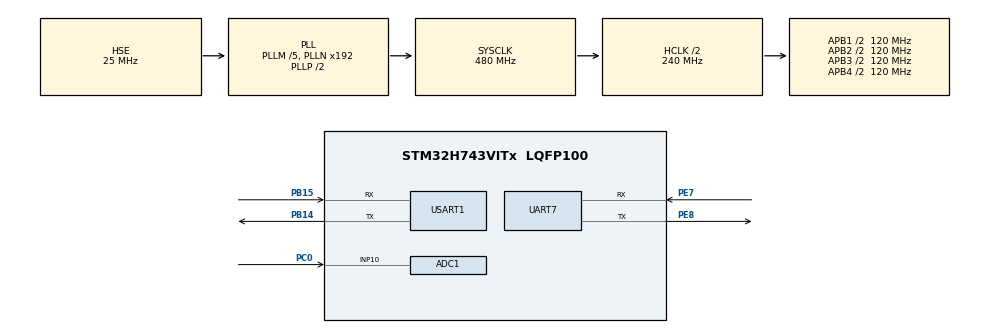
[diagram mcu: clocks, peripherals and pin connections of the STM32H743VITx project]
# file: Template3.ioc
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ADC1.Channel-0\#ChannelRegularConversion=ADC_CHANNEL_10
ADC1.ContinuousConvMode=ENABLE
ADC1.ConversionDataManagement=ADC_CONVERSIONDATA_DMA_ONESHOT
ADC1.ExternalTrigConv=ADC_EXTERNALTRIG_T15_TRGO
ADC1.NbrOfConversionFlag=1
ADC1.OffsetNumber-0\#ChannelRegularConversion=ADC_OFFSET_NONE
ADC1.OffsetSignedSaturation-0\#ChannelRegularConversion=DISABLE
ADC1.Rank-0\#ChannelRegularConversion=1
ADC1.SamplingTime-0\#ChannelRegularConversion=ADC_SAMPLETIME_1CYCLE_5
ADC1.master=1
CORTEX_M7.AccessPermission-Cortex_Memory_Protection_Unit_Region0_Settings=MPU_REGION_FULL_ACCESS
CORTEX_M7.AccessPermission-Cortex_Memory_Protection_Unit_Region1_Settings=MPU_REGION_FULL_ACCESS
CORTEX_M7.AccessPermission-Cortex_Memory_Protection_Unit_Region2_Settings=MPU_REGION_FULL_ACCESS
CORTEX_M7.AccessPermission-Cortex_Memory_Protection_Unit_Region3_Settings=MPU_REGION_FULL_ACCESS
CORTEX_M7.AccessPermission-Cortex_Memory_Protection_Unit_Region4_Settings=MPU_REGION_FULL_ACCESS
CORTEX_M7.BaseAddress-Cortex_Memory_Protection_Unit_Region0_Settings=0x24000000
CORTEX_M7.BaseAddress-Cortex_Memory_Protection_Unit_Region1_Settings=0x30000000
CORTEX_M7.BaseAddress-Cortex_Memory_Protection_Unit_Region2_Settings=0x30020000
CORTEX_M7.BaseAddress-Cortex_Memory_Protection_Unit_Region3_Settings=0x30040000
CORTEX_M7.BaseAddress-Cortex_Memory_Protection_Unit_Region4_Settings=0x38000000
CORTEX_M7.CPU_DCache=Enabled
CORTEX_M7.CPU_ICache=Enabled
CORTEX_M7.Enable-Cortex_Memory_Protection_Unit_Region0_Settings=MPU_REGION_ENABLE
CORTEX_M7.Enable-Cortex_Memory_Protection_Unit_Region1_Settings=MPU_REGION_ENABLE
CORTEX_M7.Enable-Cortex_Memory_Protection_Unit_Region2_Settings=MPU_REGION_ENABLE
CORTEX_M7.Enable-Cortex_Memory_Protection_Unit_Region3_Settings=MPU_REGION_ENABLE
CORTEX_M7.Enable-Cortex_Memory_Protection_Unit_Region4_Settings=MPU_REGION_ENABLE
CORTEX_M7.IsBufferable-Cortex_Memory_Protection_Unit_Region0_Settings=MPU_ACCESS_BUFFERABLE
CORTEX_M7.IsCacheable-Cortex_Memory_Protection_Unit_Region0_Settings=MPU_ACCESS_CACHEABLE
CORTEX_M7.MPU_Control=MPU_PRIVILEGED_DEFAULT
CORTEX_M7.Size-Cortex_Memory_Protection_Unit_Region0_Settings=MPU_REGION_SIZE_512KB
CORTEX_M7.Size-Cortex_Memory_Protection_Unit_Region1_Settings=MPU_REGION_SIZE_128KB
CORTEX_M7.Size-Cortex_Memory_Protection_Unit_Region2_Settings=MPU_REGION_SIZE_128KB
CORTEX_M7.Size-Cortex_Memory_Protection_Unit_Region3_Settings=MPU_REGION_SIZE_32KB
CORTEX_M7.Size-Cortex_Memory_Protection_Unit_Region4_Settings=MPU_REGION_SIZE_64KB
CORTEX_M7.TypeExtField-Cortex_Memory_Protection_Unit_Region0_Settings=MPU_TEX_LEVEL1
CORTEX_M7.TypeExtField-Cortex_Memory_Protection_Unit_Region1_Settings=MPU_TEX_LEVEL1
CORTEX_M7.TypeExtField-Cortex_Memory_Protection_Unit_Region2_Settings=MPU_TEX_LEVEL1
CORTEX_M7.TypeExtField-Cortex_Memory_Protection_Unit_Region3_Settings=MPU_TEX_LEVEL1
CORTEX_M7.TypeExtField-Cortex_Memory_Protection_Unit_Region4_Settings=MPU_TEX_LEVEL1
Dma.ADC1.0.Direction=DMA_PERIPH_TO_MEMORY
Dma.ADC1.0.EventEnable=DISABLE
Dma.ADC1.0.FIFOMode=DMA_FIFOMODE_DISABLE
Dma.ADC1.0.Instance=DMA1_Stream0
Dma.ADC1.0.MemDataAlignment=DMA_MDATAALIGN_HALFWORD
Dma.ADC1.0.MemInc=DMA_MINC_ENABLE
Dma.ADC1.0.Mode=DMA_NORMAL
Dma.ADC1.0.PeriphDataAlignment=DMA_PDATAALIGN_HALFWORD
Dma.ADC1.0.PeriphInc=DMA_PINC_DISABLE
Dma.ADC1.0.Polarity=HAL_DMAMUX_REQ_GEN_RISING
Dma.ADC1.0.Priority=DMA_PRIORITY_LOW
Dma.ADC1.0.RequestNumber=1
Dma.ADC1.0.SignalID=NONE
Dma.ADC1.0.SyncEnable=DISABLE
Dma.ADC1.0.SyncPolarity=HAL_DMAMUX_SYNC_NO_EVENT
Dma.ADC1.0.SyncRequestNumber=1
Dma.ADC1.0.SyncSignalID=NONE
Dma.Request0=ADC1
Mcu.Family=STM32H7
Mcu.Name=STM32H743VITx
Mcu.Package=LQFP100
NVIC.DMA1_Stream0_IRQn=true\:0\:0\:false\:false\:true\:false\:true\:true
NVIC.PriorityGroup=NVIC_PRIORITYGROUP_4
NVIC.TIM6_DAC_IRQn=true\:0\:0\:false\:false\:true\:true\:true\:true
NVIC.TIM7_IRQn=true\:0\:0\:false\:false\:true\:true\:true\:true
NVIC.UART7_IRQn=true\:0\:0\:false\:false\:true\:true\:true\:true
PA13\ (JTMS/SWDIO).Mode=Serial_Wire
PA13\ (JTMS/SWDIO).Signal=DEBUG_JTMS-SWDIO
PA14\ (JTCK/SWCLK).Mode=Serial_Wire
PA14\ (JTCK/SWCLK).Signal=DEBUG_JTCK-SWCLK
PB14.Mode=Asynchronous
PB14.Signal=USART1_TX
PB15.Mode=Asynchronous
PB15.Signal=USART1_RX
PC0.Signal=ADCx_INP10
PE7.Mode=Asynchronous
PE7.Signal=UART7_RX
PE8.Mode=Asynchronous
PE8.Signal=UART7_TX
PH0-OSC_IN\ (PH0).Mode=HSE-External-Oscillator
PH0-OSC_IN\ (PH0).Signal=RCC_OSC_IN
PH1-OSC_OUT\ (PH1).Mode=HSE-External-Oscillator
PH1-OSC_OUT\ (PH1).Signal=RCC_OSC_OUT
ProjectManager.HeapSize=0x200
ProjectManager.StackSize=0x7400
ProjectManager.TargetToolchain=MDK-ARM V5.32
RCC.ADCFreq_Value=72000000
RCC.APB1Freq_Value=120000000
RCC.APB2Freq_Value=120000000
RCC.APB3Freq_Value=120000000
RCC.APB4Freq_Value=120000000
RCC.CortexFreq_Value=480000000
RCC.D1PPRE=RCC_APB3_DIV2
RCC.D2PPRE1=RCC_APB1_DIV2
RCC.D2PPRE2=RCC_APB2_DIV2
RCC.D3PPRE=RCC_APB4_DIV2
RCC.DIVM1=5
RCC.DIVM2=25
RCC.DIVN1=192
RCC.DIVN2=360
RCC.DIVP2=5
RCC.HCLKFreq_Value=240000000
RCC.HPRE=RCC_HCLK_DIV2
RCC.PLLSourceVirtual=RCC_PLLSOURCE_HSE
RCC.PWR_Regulator_Voltage_Scale=PWR_REGULATOR_VOLTAGE_SCALE0
RCC.ProductRev=revV
RCC.SYSCLKFreq_VALUE=480000000
RCC.SYSCLKSource=RCC_SYSCLKSOURCE_PLLCLK
RCC.USBFreq_Value=480000000
SH.ADCx_INP10.0=ADC1_INP10,IN10-Single-Ended
TIM15.AutoReloadPreload=TIM_AUTORELOAD_PRELOAD_ENABLE
TIM15.Period=15
TIM15.Prescaler=23
TIM15.TIM_MasterOutputTrigger=TIM_TRGO_UPDATE
TIM6.AutoReloadPreload=TIM_AUTORELOAD_PRELOAD_ENABLE
TIM6.Period=4999
TIM6.Prescaler=23999
TIM6.TIM_MasterOutputTrigger=TIM_TRGO_UPDATE
TIM7.AutoReloadPreload=TIM_AUTORELOAD_PRELOAD_ENABLE
TIM7.Period=4999
TIM7.Prescaler=23999
TIM7.TIM_MasterOutputTrigger=TIM_TRGO_UPDATE
USART1.VirtualMode-Asynchronous=VM_ASYNC
VP_MEMORYMAP_VS_MEMORYMAP.Mode=CurAppReg
VP_TIM15_VS_ClockSourceINT.Mode=Internal
VP_TIM6_VS_ClockSourceINT.Mode=Enable_Timer
VP_TIM7_VS_ClockSourceINT.Mode=Enable_Timer
board=custom

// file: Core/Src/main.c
/* USER CODE BEGIN Header */
/**
  ******************************************************************************
  * @file           : main.c
  * @brief          : Main program body
  ******************************************************************************
  * @attention
  *
  * Copyright (c) 2025 STMicroelectronics.
  * All rights reserved.
  *
  * This software is licensed under terms that can be found in the LICENSE file
  * in the root directory of this software component.
  * If no LICENSE file comes with this software, it is provided AS-IS.
  *
  ******************************************************************************
  */
/* USER CODE END Header */
#include "main.h"
#include "adc.h"
#include "dma.h"
#include "memorymap.h"
#include "tim.h"
#include "usart.h"
#include "gpio.h"

#include "arm_math.h"
#include "arm_const_structs.h"
#include "xFFT.h"

/* USER CODE BEGIN PTD */
ALIGN_32BYTES(uint16_t adc1_data[FFT_LENGTH])  __attribute__((section(".ARM.__at_0x30000000")));
__IO uint8_t AdcConvEnd=0;
/* USER CODE END PTD */

/* USER CODE BEGIN PV */
// double voltage;
//0是正弦波，1是三角波
int Wavemax1;//最大频点频率值1
int WaveS1;//波形1种类
int Wavemax2;//最大频点频率值2
int WaveS2;//波形2种类
//0是不同频，1是同频
int frediffornot;//同频与否

int waveptarr[21][2]={{0,0},{11,5},{23,10},{34,15},{46,20},{57,25},{68,30},{80,35},{91,40},{102,45},{114,50},{125,55},{137,60},{148,65},{159,70},{171,75},{182,80},{194,85},{205,90},{216,95},{228,100}};//标准频点
int boxlength=21;

double Forcal[FFT_LENGTH/2];//用于计算
double calinfw[FFT_LENGTH/2];//用于确定是否是同频信号

// int maxindex1;//波形频点角标1
// int maxindex2;//波形频点角标2
/* USER CODE END PV */

void SystemClock_Config(void);
static void MPU_Config(void);

/* USER CODE BEGIN 0 */

  void TwoOrOne(){//同频还是不同频
    for(int i=0;i<FFT_LENGTH/2;i++){
      calinfw[i]=Forcal[i];
    }
    double maxx=0.0;//最大值
    int maxxindex;//最大值的角标
    for(int k=6;k<FFT_LENGTH/2;k++){
      if(maxx<calinfw[k]){
        maxx=calinfw[k];
        maxxindex=k;
      }
    }//先找到第一个很大的值，是一个频点
    for(int i=maxxindex-5;i<maxxindex+5;i++){/////////////////////////
      calinfw[i]=0;
    }//把这一部分频率滤掉
    maxx=0.0;
    for(int k=6;k<FFT_LENGTH/2;k++){
      if(maxx<calinfw[k]){
        maxx=calinfw[k];
        maxxindex=k;
      }
    }
    if(maxx>200){//最大值大于两百，认为还有一个频点，也就是两个信号不同频/////////////////////////
      frediffornot=0;//不同频
    }else{
      frediffornot=1;//同频
    }
  }

int FindPoint(int thatindex){//找到最大频率的点的角标，这个点离哪个标准频点更近
  //计算和标准频点的频谱值的差值，找到差值最小的点，那个点是所求的频率的附近的点
  int mindiff=1e5;//最小差
  int diff;//差值
  int thatfre;//找到那个频率点
  for(int i=1;i<boxlength;i++){
    diff=abs(waveptarr[i][0]-thatindex);
    if(diff<mindiff){
      mindiff=diff;
      thatfre=waveptarr[i][1];
    }
  }
  return thatfre;
}

int Triornot(int Wavevalue){//判断是否为三角波
  //找到标准频率的角标，看该频率的三倍和五倍频的频谱值是否同时大于1/9和1/25
  int index=0;//标准频点角标
  for(int i=1;i<boxlength;i++){
    if(Wavevalue==waveptarr[i][1]){
      index=waveptarr[i][0];
      break;
    }
  }
  int index3=index*3;//三次谐波标准值,要出现大于60的数//////////////////////////
  int index5=index*5;//五次谐波标准值，要出现大于13的数/////////////////////////
  bool in3j=false,in5j=false;//判断3次、5次谐波是否满足
  for(int i=index3-5;i<index3+5;i++){/////////////////////////
    if(Forcal[i]>60){///////////////////////////////////
      in3j=true;
      break;
    }
  }
  for(int i=index5-5;i<index5+5;i++){////////////////////////
    if(Forcal[i]>13){///////////////////////////////////
      in5j=true;
      break;
    }
  }
  if(in3j&&in5j){
    return 1;//三角波
  }else{
    return 0;//正弦波
  }
}

void FindWave(){
  //q1[i].real
  double max1=0.0;//第一个最大值
  double max2=0.0;//第二个最大值
  int index=0;

  TwoOrOne();

  if(frediffornot==0){//两个波频率不一样
    for(int k=6;k<FFT_LENGTH/2;k++){
      if(Forcal[k]>max1){
        max1=Forcal[k];//找到最大的那个点的值
        index=k;//找到最大的那个点的角标
      }
    }

    Wavemax1=FindPoint(index);//多少k
    WaveS1=Triornot(Wavemax1);//三角波还是正弦波

    for(int i=1;i<boxlength;i++){
      if(Wavemax1==waveptarr[i][1]){
        index=waveptarr[i][0];
        break;
      }
    }//找到这个频点对应的index

    for(int i=index-5;i<index+5;i++){//////////////////////////
      Forcal[i]=62;//////////////////////////////////////////////
    }

    for(int k=6;k<FFT_LENGTH/2;k++){
      if(Forcal[k]>max2){
        max2=Forcal[k];//找到最大的那个点的值
        index=k;//找到最大的那个点的角标
      }
    }

    Wavemax2=FindPoint(index);//多少k
    WaveS2=Triornot(Wavemax2);//三角波还是正弦波

  }else{
    for(int k=6;k<FFT_LENGTH/2;k++){
      if(Forcal[k]>max1){
        max1=Forcal[k];//找到最大的那个点的值
        index=k;//找到最大的那个点的角标
      }
    }

    Wavemax1=FindPoint(index);//多少k
    Wavemax2=Wavemax1;//同频

    for(int i=1;i<boxlength;i++){
      if(Wavemax1==waveptarr[i][1]){
        index=waveptarr[i][0];
        break;
      }
    }

    int index3=index*3;//三次谐波标准值，要出现大于60的数，才认为是两个三角波1；若只是大于10，则认为一三角一正弦2//////////////////////////
    int index5=index*5;//五次谐波标准值，要出现大于40的数，才认为是两个三角波1；若只是大于10，则认为一三角一正弦2/////////////////////////
    int in3j=0,in5j=0;//判断3次、5次谐波是否满足

    for(int i=index3-5;i<index3+5;i++){/////////////////////////
      if(Forcal[i]>10){///////////////////////////////////
        in3j=2;
        if(Forcal[i]>70){///////////////////////////////
          in3j=1;
          break;
        }
      }
    }
    for(int i=index5-5;i<index5+5;i++){////////////////////////
      if(Forcal[i]>10){///////////////////////////////////
        in5j=2;
        if(Forcal[i]>40){//////////////////////////////
          in5j=1;
          break;
        }
      }
    }

    if(in3j==0&&in5j==0){
      WaveS1=0;
      WaveS2=0;//两正弦
    }else if(in3j==1&&in5j==1){
      WaveS1=1;
      WaveS2=1;//两个三角波
    }else{
      WaveS1=1;
      WaveS2=0;//一三角一正弦
    }

  }

}

void HAL_TIM_PeriodElapsedCallback(TIM_HandleTypeDef *htim){
  if(htim==&htim6){
    printf("Tim6 Triggered\r\n");
    HAL_TIM_Base_Stop(&htim6);
    __HAL_TIM_SET_COUNTER(&htim6,0);
    __HAL_TIM_SET_COUNTER(&htim15,0);
    HAL_TIM_Base_Start(&htim15);//打开定时器15
    HAL_ADCEx_Calibration_Start(&hadc1, ADC_CALIB_OFFSET, ADC_SINGLE_ENDED);//校准ADC
    HAL_ADC_Start_DMA(&hadc1,(uint32_t*)adc1_data,FFT_LENGTH);//开始转换
  }
}

void HAL_ADC_ConvCpltCallback(ADC_HandleTypeDef* hadc){
  if(hadc==&hadc1){
    HAL_ADC_Stop_DMA(&hadc1);
    HAL_TIM_Base_Stop(&htim15);//结束转换
    printf("In ADC1\r\n");
//    for(int i=0;i<FFT_LENGTH;i++){
//      voltage=adc1_data[i]*3.3/65535.0;
//      printf("%.6f\r\n",voltage);
//    }
		AdcConvEnd=1;//标志位置位，其他代码放在while(1)中

//    FFT_DIS();
  }
}
/* USER CODE END 0 */

int main(void)
{

  /* MPU Configuration--------------------------------------------------------*/
  MPU_Config();

  /* Enable the CPU Cache */

  /* Enable I-Cache---------------------------------------------------------*/
  SCB_EnableICache();

  /* Enable D-Cache---------------------------------------------------------*/
  SCB_EnableDCache();

  /* MCU Configuration--------------------------------------------------------*/

  /* Reset of all peripherals, Initializes the Flash interface and the Systick. */
  HAL_Init();

  /* Configure the system clock */
  SystemClock_Config();

  /* Initialize all configured peripherals */
  MX_GPIO_Init();
  MX_DMA_Init();
  MX_TIM7_Init();
  MX_USART1_UART_Init();
  MX_UART7_Init();
  MX_ADC1_Init();
  MX_TIM15_Init();
  MX_TIM6_Init();
  /* USER CODE BEGIN 2 */

	HAL_TIM_Base_Start_IT(&htim6);
  HAL_TIM_Base_Start_IT(&htim15);
  HAL_TIM_Base_Stop(&htim6);//采样前延时
  HAL_TIM_Base_Stop(&htim15);//采样间隔

  //调试用
  //printf("In Main\r\n");
  __HAL_TIM_SET_COUNTER(&htim6,0);
  HAL_TIM_Base_Start(&htim6);//开启定时器

  /* USER CODE END 2 */

  /* Infinite loop */
  /* USER CODE BEGIN WHILE */
  while (1)
  {
    if(AdcConvEnd==1){
      AdcConvEnd=0;
      FFT_Init();
      // FFT_DIS();
      //q1[i].real
      for(int i=0;i<FFT_LENGTH/2;i++){
        Forcal[i]=q1[i].real;
      }
      FindWave();//找到这两个信号
      printf("Wave1fre: %d\r\n",Wavemax1);
      printf("Wave2fre: %d\r\n",Wavemax2);
      printf("Wave1sss: %d\r\n",WaveS1);
      printf("Wave2sss: %d\r\n",WaveS2);
    }
    /* USER CODE END WHILE */

  }
}

void SystemClock_Config(void)
{
  RCC_OscInitTypeDef RCC_OscInitStruct = {0};
  RCC_ClkInitTypeDef RCC_ClkInitStruct = {0};

  /** Supply configuration update enable
  */
  HAL_PWREx_ConfigSupply(PWR_LDO_SUPPLY);

  /** Configure the main internal regulator output voltage
  */
  __HAL_PWR_VOLTAGESCALING_CONFIG(PWR_REGULATOR_VOLTAGE_SCALE0);

  while(!__HAL_PWR_GET_FLAG(PWR_FLAG_VOSRDY)) {}

  /** Initializes the RCC Oscillators according to the specified parameters
  * in the RCC_OscInitTypeDef structure.
  */
  RCC_OscInitStruct.OscillatorType = RCC_OSCILLATORTYPE_HSE;
  RCC_OscInitStruct.HSEState = RCC_HSE_ON;
  RCC_OscInitStruct.PLL.PLLState = RCC_PLL_ON;
  RCC_OscInitStruct.PLL.PLLSource = RCC_PLLSOURCE_HSE;
  RCC_OscInitStruct.PLL.PLLM = 5;
  RCC_OscInitStruct.PLL.PLLN = 192;
  RCC_OscInitStruct.PLL.PLLP = 2;
  RCC_OscInitStruct.PLL.PLLQ = 2;
  RCC_OscInitStruct.PLL.PLLR = 2;
  RCC_OscInitStruct.PLL.PLLRGE = RCC_PLL1VCIRANGE_2;
  RCC_OscInitStruct.PLL.PLLVCOSEL = RCC_PLL1VCOWIDE;
  RCC_OscInitStruct.PLL.PLLFRACN = 0;
  if (HAL_RCC_OscConfig(&RCC_OscInitStruct) != HAL_OK)
  {
    Error_Handler();
  }

  /** Initializes the CPU, AHB and APB buses clocks
  */
  RCC_ClkInitStruct.ClockType = RCC_CLOCKTYPE_HCLK|RCC_CLOCKTYPE_SYSCLK
                              |RCC_CLOCKTYPE_PCLK1|RCC_CLOCKTYPE_PCLK2
                              |RCC_CLOCKTYPE_D3PCLK1|RCC_CLOCKTYPE_D1PCLK1;
  RCC_ClkInitStruct.SYSCLKSource = RCC_SYSCLKSOURCE_PLLCLK;
  RCC_ClkInitStruct.SYSCLKDivider = RCC_SYSCLK_DIV1;
  RCC_ClkInitStruct.AHBCLKDivider = RCC_HCLK_DIV2;
  RCC_ClkInitStruct.APB3CLKDivider = RCC_APB3_DIV2;
  RCC_ClkInitStruct.APB1CLKDivider = RCC_APB1_DIV2;
  RCC_ClkInitStruct.APB2CLKDivider = RCC_APB2_DIV2;
  RCC_ClkInitStruct.APB4CLKDivider = RCC_APB4_DIV2;

  if (HAL_RCC_ClockConfig(&RCC_ClkInitStruct, FLASH_LATENCY_4) != HAL_OK)
  {
    Error_Handler();
  }
}

 /* MPU Configuration */

void MPU_Config(void)
{
  MPU_Region_InitTypeDef MPU_InitStruct = {0};

  /* Disables the MPU */
  HAL_MPU_Disable();

  /** Initializes and configures the Region and the memory to be protected
  */
  MPU_InitStruct.Enable = MPU_REGION_ENABLE;
  MPU_InitStruct.Number = MPU_REGION_NUMBER0;
  MPU_InitStruct.BaseAddress = 0x24000000;
  MPU_InitStruct.Size = MPU_REGION_SIZE_512KB;
  MPU_InitStruct.SubRegionDisable = 0x0;
  MPU_InitStruct.TypeExtField = MPU_TEX_LEVEL1;
  MPU_InitStruct.AccessPermission = MPU_REGION_FULL_ACCESS;
  MPU_InitStruct.DisableExec = MPU_INSTRUCTION_ACCESS_ENABLE;
  MPU_InitStruct.IsShareable = MPU_ACCESS_NOT_SHAREABLE;
  MPU_InitStruct.IsCacheable = MPU_ACCESS_CACHEABLE;
  MPU_InitStruct.IsBufferable = MPU_ACCESS_BUFFERABLE;

  HAL_MPU_ConfigRegion(&MPU_InitStruct);

  /** Initializes and configures the Region and the memory to be protected
  */
  MPU_InitStruct.Number = MPU_REGION_NUMBER1;
  MPU_InitStruct.BaseAddress = 0x30000000;
  MPU_InitStruct.Size = MPU_REGION_SIZE_128KB;
  MPU_InitStruct.IsCacheable = MPU_ACCESS_NOT_CACHEABLE;
  MPU_InitStruct.IsBufferable = MPU_ACCESS_NOT_BUFFERABLE;

  HAL_MPU_ConfigRegion(&MPU_InitStruct);

  /** Initializes and configures the Region and the memory to be protected
  */
  MPU_InitStruct.Number = MPU_REGION_NUMBER2;
  MPU_InitStruct.BaseAddress = 0x30020000;

  HAL_MPU_ConfigRegion(&MPU_InitStruct);

  /** Initializes and configures the Region and the memory to be protected
  */
  MPU_InitStruct.Number = MPU_REGION_NUMBER3;
  MPU_InitStruct.BaseAddress = 0x30040000;
  MPU_InitStruct.Size = MPU_REGION_SIZE_32KB;

  HAL_MPU_ConfigRegion(&MPU_InitStruct);

  /** Initializes and configures the Region and the memory to be protected
  */
  MPU_InitStruct.Number = MPU_REGION_NUMBER4;
  MPU_InitStruct.BaseAddress = 0x38000000;
  MPU_InitStruct.Size = MPU_REGION_SIZE_64KB;

  HAL_MPU_ConfigRegion(&MPU_InitStruct);
  /* Enables the MPU */
  HAL_MPU_Enable(MPU_PRIVILEGED_DEFAULT);

}

void Error_Handler(void)
{
  __disable_irq();
  while (1)
  {
  }
}
